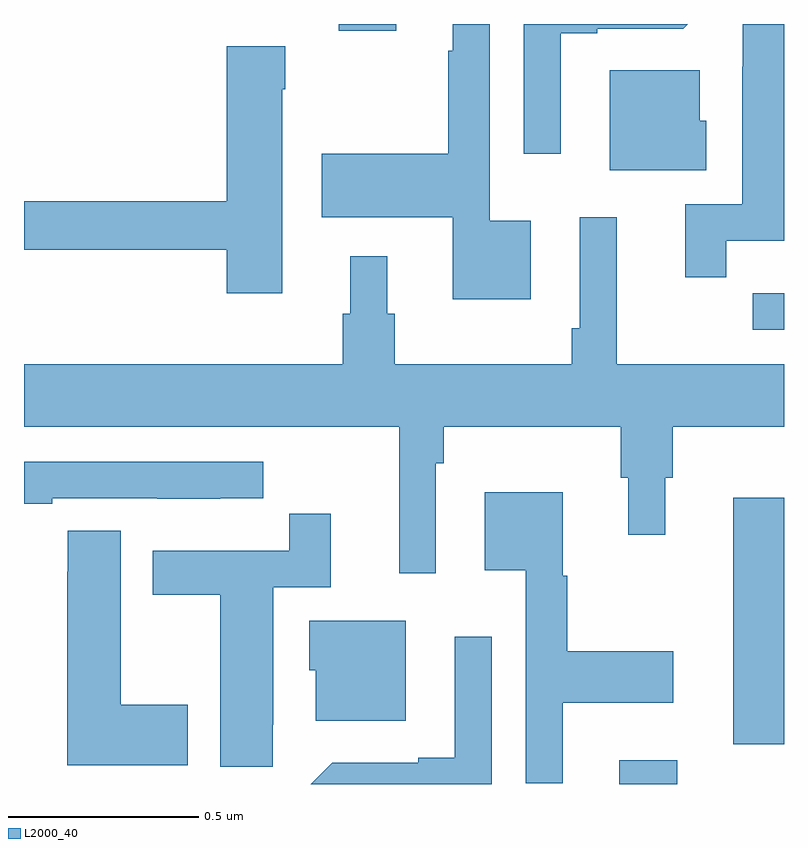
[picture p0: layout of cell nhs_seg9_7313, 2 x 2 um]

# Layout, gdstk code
import gdstk
lib = gdstk.Library(unit=1e-6, precision=1e-09)
def R(c, l, rs):  # rectangles x0, y0, x1, y1
    for r in rs: c.add(gdstk.rectangle(r[:2], r[2:], *l))
def P(c, l, *ps):  # polygons
    for p in ps: c.add(gdstk.Polygon(p, *l))
L2000_40 = (2000, 40)

nhs_seg9_7313 = lib.new_cell('nhs_seg9_7313')
R(nhs_seg9_7313, L2000_40, [(204.566,1175.5,204.719,1175.563), (204.866,1175.604,205,1176.253), (204.918,1176.696,205,1176.792), (203.828,1177.482,203.98,1177.5)])
P(nhs_seg9_7313, L2000_40, [(204.412,1177.476),(204.508,1177.476),(204.508,1177.488),(204.735,1177.488),(204.747,1177.5),(204.315,1177.5),(204.315,1177.158),(204.412,1177.158)],
  [(204.334,1176.982),(204.225,1176.982),(204.225,1177.5),(204.128,1177.5),(204.128,1177.43),(204.117,1177.43),(204.117,1177.158),(203.784,1177.158),(203.784,1176.992),(204.128,1176.992),(204.128,1176.776),(204.334,1176.776)],
  [(204.848,1176.93),(205,1176.93),(205,1177.499),(204.891,1177.499),(204.891,1177.388),(204.89,1177.388),(204.89,1177.026),(204.74,1177.026),(204.74,1176.834),(204.848,1176.834)],
  [(203.68,1177.328),(203.688,1177.328),(203.688,1177.441),(203.534,1177.441),(203.534,1177.034),(203,1177.034),(203,1176.906),(203.534,1176.906),(203.534,1176.792),(203.68,1176.792)],
  [(204.796,1177.245),(204.778,1177.245),(204.778,1177.378),(204.542,1177.378),(204.542,1177.115),(204.796,1177.115)],
  [(204.084,1176.344),(204.104,1176.344),(204.104,1176.44),(204.571,1176.44),(204.571,1176.306),(204.59,1176.306),(204.59,1176.156),(204.688,1176.156),(204.688,1176.306),(204.707,1176.306),(204.707,1176.44),(205,1176.44),(205,1176.604),(204.56,1176.604),(204.56,1176.991),(204.462,1176.991),(204.462,1176.7),(204.442,1176.7),(204.442,1176.604),(203.975,1176.604),(203.975,1176.738),(203.956,1176.738),(203.956,1176.889),(203.858,1176.889),(203.858,1176.738),(203.839,1176.738),(203.839,1176.604),(203,1176.604),(203,1176.44),(203.987,1176.44),(203.987,1176.054),(204.084,1176.054)],
  [(203.074,1176.252),(203.35,1176.252),(203.35,1176.251),(203.516,1176.251),(203.516,1176.252),(203.629,1176.252),(203.629,1176.348),(203,1176.348),(203,1176.237),(203.074,1176.237)],
  [(204.418,1175.714),(204.709,1175.714),(204.709,1175.849),(204.43,1175.849),(204.43,1176.048),(204.418,1176.048),(204.418,1176.268),(204.212,1176.268),(204.212,1176.062),(204.321,1176.062),(204.321,1175.502),(204.418,1175.502)],
  [(203.655,1175.656),(203.656,1175.656),(203.656,1176.018),(203.807,1176.018),(203.807,1176.211),(203.698,1176.211),(203.698,1176.114),(203.339,1176.114),(203.339,1175.998),(203.516,1175.998),(203.516,1175.545),(203.655,1175.545)],
  [(203.431,1175.709),(203.254,1175.709),(203.254,1176.167),(203.115,1176.167),(203.115,1176.059),(203.114,1176.059),(203.114,1175.549),(203.431,1175.549)],
  [(204.004,1175.929),(203.75,1175.929),(203.75,1175.799),(203.768,1175.799),(203.768,1175.666),(204.004,1175.666)],
  [(204.231,1175.887),(204.134,1175.887),(204.134,1175.569),(204.038,1175.569),(204.038,1175.556),(203.811,1175.556),(203.755,1175.5),(204.231,1175.5)])

lib.write_gds('nhs_seg9_7313.gds')
